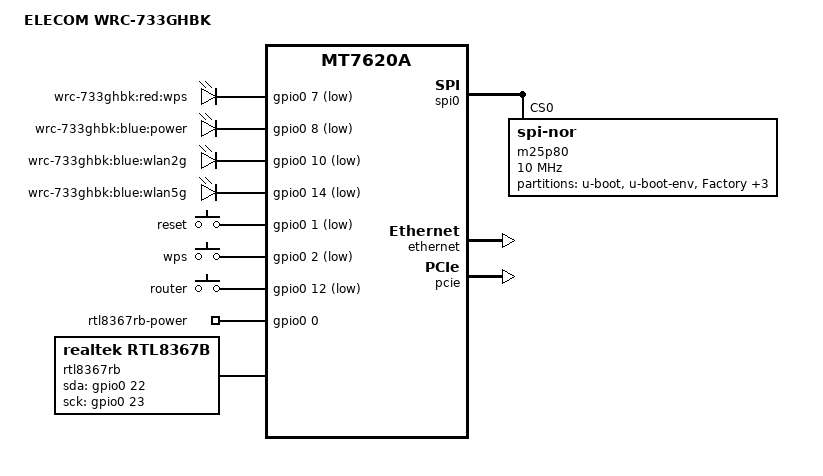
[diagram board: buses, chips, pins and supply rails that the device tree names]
/dts-v1/;

#include "mt7620a.dtsi"

#include <dt-bindings/gpio/gpio.h>
#include <dt-bindings/input/input.h>

/ {
	compatible = "elecom,wrc-733ghbk", "ralink,mt7620a-soc";
	model = "ELECOM WRC-733GHBK";

	aliases {
		led-boot = &led_power;
		led-failsafe = &led_power;
		led-running = &led_power;
		led-upgrade = &led_power;
	};

	chosen {
		bootargs = "console=ttyS0,57600";
	};

	gpio-leds {
		compatible = "gpio-leds";

		wps {
			label = "wrc-733ghbk:red:wps";
			gpios = <&gpio0 7 GPIO_ACTIVE_LOW>;
		};

		led_power: power {
			label = "wrc-733ghbk:blue:power";
			gpios = <&gpio0 8 GPIO_ACTIVE_LOW>;
		};

		wlan2g {
			label = "wrc-733ghbk:blue:wlan2g";
			gpios = <&gpio0 10 GPIO_ACTIVE_LOW>;
		};

		wlan5g {
			label = "wrc-733ghbk:blue:wlan5g";
			gpios = <&gpio0 14 GPIO_ACTIVE_LOW>;
		};
	};

	gpio-keys {
		compatible = "gpio-keys";

		reset {
			label = "reset";
			gpios = <&gpio0 1 GPIO_ACTIVE_LOW>;
			linux,code = <KEY_RESTART>;
		};

		wps {
			label = "wps";
			gpios = <&gpio0 2 GPIO_ACTIVE_LOW>;
			linux,code = <KEY_WPS_BUTTON>;
		};

		router {
			label = "router";
			gpios = <&gpio0 12 GPIO_ACTIVE_LOW>;
			linux,code = <BTN_0>;
			linux,input-type = <EV_SW>;
		};
	};

	gpio_export {
		compatible = "gpio-export";
		#size-cells = <0>;

		rtl8367rb_power {
			gpio-export,name = "rtl8367rb-power";
			gpio-export,output = <1>;
			gpios = <&gpio0 0 GPIO_ACTIVE_HIGH>;
		};
	};

	rtl8367rb {
		compatible = "realtek,rtl8367b";
		gpio-sda = <&gpio0 22 GPIO_ACTIVE_HIGH>;
		gpio-sck = <&gpio0 23 GPIO_ACTIVE_HIGH>;
		realtek,extif1 = <1 0 1 1 1 1 1 1 2>;
	};
};

&spi0 {
	status = "okay";

	m25p80@0 {
		compatible = "jedec,spi-nor";
		reg = <0>;
		spi-max-frequency = <10000000>;

		partitions {
			compatible = "fixed-partitions";
			#address-cells = <1>;
			#size-cells = <1>;

			partition@0 {
				label = "u-boot";
				reg = <0x0 0x30000>;
				read-only;
			};

			partition@30000 {
				label = "u-boot-env";
				reg = <0x30000 0x10000>;
				read-only;
			};

			Factory: partition@40000 {
				label = "Factory";
				reg = <0x40000 0x10000>;
				read-only;
			};

			partition@50000 {
				label = "nvram";
				reg = <0x50000 0x20000>;
				read-only;
			};

			partition@70000 {
				label = "firmware";
				reg = <0x70000 0x780000>;
			};

			partition@7f0000 {
				label = "hwconfig";
				reg = <0x7f0000 0x10000>;
				read-only;
			};
		};
	};
};

&pinctrl {
	state_default: pinctrl0 {
		gpio {
			ralink,group = "i2c", "uartf", "mdio";
			ralink,function = "gpio";
		};
	};
};

&ethernet {
	status = "okay";
	pinctrl-names = "default";
	pinctrl-0 = <&rgmii1_pins>;

	port@5 {
		status = "okay";
		mediatek,fixed-link = <1000 1 1 1>;
		phy-mode = "rgmii";
	};
};

&pcie {
	status = "okay";
	/*
	 * WRC-733GHBK has MT7610E for 5 GHz wifi,
	 * but it's not supported in OpenWrt.
	 */
};
